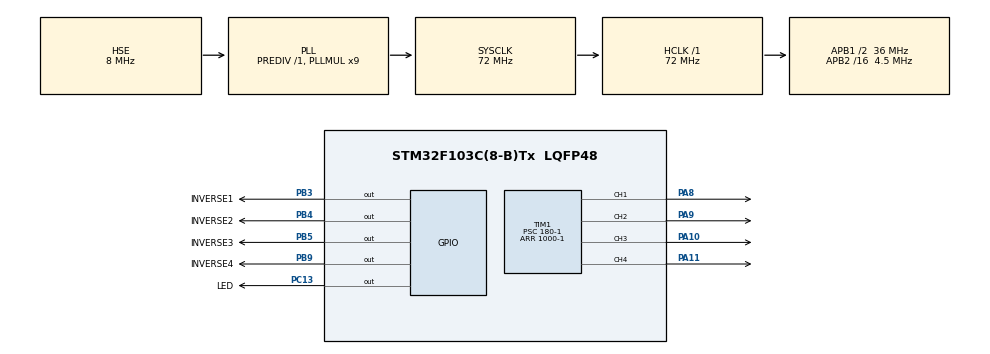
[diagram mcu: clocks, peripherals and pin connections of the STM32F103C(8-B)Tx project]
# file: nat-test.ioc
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Mcu.Family=STM32F1
Mcu.Name=STM32F103C(8-B)Tx
Mcu.Package=LQFP48
NVIC.PriorityGroup=NVIC_PRIORITYGROUP_4
PA10.Signal=S_TIM1_CH3
PA11.Signal=S_TIM1_CH4
PA8.Signal=S_TIM1_CH1
PA9.Signal=S_TIM1_CH2
PB3.GPIO_Label=INVERSE1
PB3.Signal=GPIO_Output
PB4.GPIO_Label=INVERSE2
PB4.Signal=GPIO_Output
PB5.GPIO_Label=INVERSE3
PB5.GPIO_ModeDefaultOutputPP=GPIO_MODE_OUTPUT_PP
PB5.GPIO_PuPd=GPIO_NOPULL
PB5.Signal=GPIO_Output
PB9.GPIO_Label=INVERSE4
PB9.Signal=GPIO_Output
PC13-TAMPER-RTC.GPIO_Label=LED
PC13-TAMPER-RTC.Signal=GPIO_Output
PD0-OSC_IN.Mode=HSE-External-Oscillator
PD0-OSC_IN.Signal=RCC_OSC_IN
PD1-OSC_OUT.Mode=HSE-External-Oscillator
PD1-OSC_OUT.Signal=RCC_OSC_OUT
ProjectManager.HeapSize=0x200
ProjectManager.StackSize=0x400
ProjectManager.TargetToolchain=STM32CubeIDE
RCC.AHBFreq_Value=72000000
RCC.APB1CLKDivider=RCC_HCLK_DIV2
RCC.APB1Freq_Value=36000000
RCC.APB1TimFreq_Value=72000000
RCC.APB2CLKDivider=RCC_HCLK_DIV16
RCC.APB2Freq_Value=4500000
RCC.APB2TimFreq_Value=9000000
RCC.HCLKFreq_Value=72000000
RCC.PLLMUL=RCC_PLL_MUL9
RCC.PLLSourceVirtual=RCC_PLLSOURCE_HSE
RCC.SYSCLKFreq_VALUE=72000000
RCC.SYSCLKSource=RCC_SYSCLKSOURCE_PLLCLK
RCC.USBFreq_Value=72000000
SH.S_TIM1_CH1.0=TIM1_CH1,PWM Generation1 CH1
SH.S_TIM1_CH2.0=TIM1_CH2,PWM Generation2 CH2
SH.S_TIM1_CH3.0=TIM1_CH3,PWM Generation3 CH3
SH.S_TIM1_CH4.0=TIM1_CH4,PWM Generation4 CH4
TIM1.Channel-PWM\ Generation1\ CH1=TIM_CHANNEL_1
TIM1.Channel-PWM\ Generation2\ CH2=TIM_CHANNEL_2
TIM1.Channel-PWM\ Generation3\ CH3=TIM_CHANNEL_3
TIM1.Channel-PWM\ Generation4\ CH4=TIM_CHANNEL_4
TIM1.Period=1000-1
TIM1.Prescaler=180-1
VP_SYS_VS_ND.Mode=No_Debug
board=custom

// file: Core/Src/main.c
/* USER CODE BEGIN Header */
/**
  ******************************************************************************
  * @file           : main.c
  * @brief          : Main program body
  ******************************************************************************
  * @attention
  *
  * Copyright (c) 2024 STMicroelectronics.
  * All rights reserved.
  *
  * This software is licensed under terms that can be found in the LICENSE file
  * in the root directory of this software component.
  * If no LICENSE file comes with this software, it is provided AS-IS.
  *
  ******************************************************************************
  */
/* USER CODE END Header */
#include "main.h"

/* USER CODE BEGIN PTD */
#define Calibrate
/* USER CODE END PTD */

TIM_HandleTypeDef htim1;

void SystemClock_Config(void);
static void MX_GPIO_Init(void);
static void MX_TIM1_Init(void);

int main(void)
{

  /* MCU Configuration--------------------------------------------------------*/

  /* Reset of all peripherals, Initializes the Flash interface and the Systick. */
  HAL_Init();

  /* Configure the system clock */
  SystemClock_Config();

  /* Initialize all configured peripherals */
  MX_GPIO_Init();
  MX_TIM1_Init();
  /* USER CODE BEGIN 2 */

  HAL_TIM_PWM_Start(&htim1, TIM_CHANNEL_1);
  HAL_TIM_PWM_Start(&htim1, TIM_CHANNEL_2);
  HAL_TIM_PWM_Start(&htim1, TIM_CHANNEL_3);
  HAL_TIM_PWM_Start(&htim1, TIM_CHANNEL_4);

  //HAL_Delay (5000);  // wait for 1 beep
  HAL_GPIO_TogglePin(LED_GPIO_Port, LED_Pin);
  // HAL_GPIO_WritePin(INVERSE_GPIO_Port, INVERSE_Pin, GPIO_PIN_RESET);

  #ifdef Calibrate
    TIM1->CCR1 = 100;  // Set the maximum pulse (2ms)
    TIM1->CCR2 = 100;  // Set the maximum pulse (2ms)
    TIM1->CCR3 = 100;  // Set the maximum pulse (2ms)
    TIM1->CCR4 = 100;  // Set the maximum pulse (2ms)
    HAL_Delay (4005);  // wait for 1 beep
    TIM1->CCR1 = 50;   // Set the minimum Pulse (1ms)
    TIM1->CCR2 = 50;   // Set the minimum Pulse (1ms)
    TIM1->CCR3 = 50;   // Set the minimum Pulse (1ms)
    TIM1->CCR4 = 50;   // Set the minimum Pulse (1ms)
    HAL_Delay (2005);  // wait for 2 beeps
    TIM1->CCR1 = 0;    // reset to 0, so it can be controlled via ADC
    TIM1->CCR2 = 0;    // reset to 0, so it can be controlled via ADC
    TIM1->CCR3 = 0;    // reset to 0, so it can be controlled via ADC
    TIM1->CCR4 = 0;    // reset to 0, so it can be controlled via ADC

    /*
    HAL_Delay (4000);  // wait for 1 beep
    HAL_Delay (2000);  // wait for 2 beeps
    HAL_Delay (4000);  // wait for 1 beep
    HAL_Delay (2000);  // wait for 2 beeps
    HAL_Delay (4000);  // wait for 1 beep
    HAL_Delay (2000);  // wait for 2 beeps
    */
  #endif

   /*TIM1->CCR1 = 75;
   TIM1->CCR2 = 75;
   TIM1->CCR3 = 75;
   TIM1->CCR4 = 75;
   HAL_Delay (2000);*/

  /* USER CODE END 2 */

  /* Infinite loop */
  while (1)
  {

    /* USER CODE BEGIN 3 */

	  for(int i=0; i<10; i+=2){
		  	HAL_GPIO_TogglePin(LED_GPIO_Port, LED_Pin);

		  	TIM1->CCR1 = 50+i;
			TIM1->CCR2 = 50+i;
			TIM1->CCR3 = 50+i;
			TIM1->CCR4 = 50+i;

			HAL_Delay(3000);
	  }

	  	/*HAL_GPIO_TogglePin(LED_GPIO_Port, LED_Pin);

	  	HAL_GPIO_WritePin(INVERSE1_GPIO_Port, INVERSE1_Pin, GPIO_PIN_RESET);
		HAL_GPIO_WritePin(INVERSE2_GPIO_Port, INVERSE2_Pin, GPIO_PIN_RESET);
		HAL_GPIO_WritePin(INVERSE3_GPIO_Port, INVERSE3_Pin, GPIO_PIN_RESET);
		HAL_GPIO_WritePin(INVERSE4_GPIO_Port, INVERSE4_Pin, GPIO_PIN_RESET);

		TIM1->CCR1 = 60;
		TIM1->CCR2 = 60;
		TIM1->CCR3 = 60;
		TIM1->CCR4 = 60;

		HAL_Delay(3000);

		HAL_GPIO_TogglePin(LED_GPIO_Port, LED_Pin);

		HAL_GPIO_WritePin(INVERSE1_GPIO_Port, INVERSE1_Pin, GPIO_PIN_SET);
		HAL_GPIO_WritePin(INVERSE2_GPIO_Port, INVERSE2_Pin, GPIO_PIN_SET);
		HAL_GPIO_WritePin(INVERSE3_GPIO_Port, INVERSE3_Pin, GPIO_PIN_SET);
		HAL_GPIO_WritePin(INVERSE4_GPIO_Port, INVERSE4_Pin, GPIO_PIN_SET);

		TIM1->CCR1 = 60;
		TIM1->CCR2 = 60;
		TIM1->CCR3 = 60;
		TIM1->CCR4 = 60;

		HAL_Delay(3000);*/

		/*TIM1->CCR1 = 50;
		TIM1->CCR2 = 50;
		TIM1->CCR3 = 50;
		TIM1->CCR4 = 50;

		HAL_Delay(2000);*/

		/*HAL_GPIO_TogglePin(LED_GPIO_Port, LED_Pin);

		HAL_GPIO_WritePin(INVERSE1_GPIO_Port, INVERSE1_Pin, GPIO_PIN_RESET);
		HAL_GPIO_WritePin(INVERSE2_GPIO_Port, INVERSE2_Pin, GPIO_PIN_RESET);
		HAL_GPIO_WritePin(INVERSE3_GPIO_Port, INVERSE3_Pin, GPIO_PIN_RESET);
		HAL_GPIO_WritePin(INVERSE4_GPIO_Port, INVERSE4_Pin, GPIO_PIN_RESET);

		TIM1->CCR1 = 70;
		TIM1->CCR2 = 70;
		TIM1->CCR3 = 70;
		TIM1->CCR4 = 70;

		HAL_Delay(3000);

		HAL_GPIO_TogglePin(LED_GPIO_Port, LED_Pin);

		HAL_GPIO_WritePin(INVERSE1_GPIO_Port, INVERSE1_Pin, GPIO_PIN_SET);
		HAL_GPIO_WritePin(INVERSE2_GPIO_Port, INVERSE2_Pin, GPIO_PIN_SET);
		HAL_GPIO_WritePin(INVERSE3_GPIO_Port, INVERSE3_Pin, GPIO_PIN_SET);
		HAL_GPIO_WritePin(INVERSE4_GPIO_Port, INVERSE4_Pin, GPIO_PIN_SET);

		TIM1->CCR1 = 70;
		TIM1->CCR2 = 70;
		TIM1->CCR3 = 70;
		TIM1->CCR4 = 70;

		HAL_Delay(3000);

		/*TIM1->CCR1 = 50;
		TIM1->CCR2 = 50;
		TIM1->CCR3 = 50;
		TIM1->CCR4 = 50;

		HAL_Delay(2000);*/

		/*HAL_GPIO_TogglePin(LED_GPIO_Port, LED_Pin);

		HAL_GPIO_WritePin(INVERSE1_GPIO_Port, INVERSE1_Pin, GPIO_PIN_RESET);
		HAL_GPIO_WritePin(INVERSE2_GPIO_Port, INVERSE2_Pin, GPIO_PIN_RESET);
		HAL_GPIO_WritePin(INVERSE3_GPIO_Port, INVERSE3_Pin, GPIO_PIN_RESET);
		HAL_GPIO_WritePin(INVERSE4_GPIO_Port, INVERSE4_Pin, GPIO_PIN_RESET);

		TIM1->CCR1 = 80;
		TIM1->CCR2 = 80;
		TIM1->CCR3 = 80;
		TIM1->CCR4 = 80;

		HAL_Delay(3000);

		HAL_GPIO_TogglePin(LED_GPIO_Port, LED_Pin);

		HAL_GPIO_WritePin(INVERSE1_GPIO_Port, INVERSE1_Pin, GPIO_PIN_SET);
		HAL_GPIO_WritePin(INVERSE2_GPIO_Port, INVERSE2_Pin, GPIO_PIN_SET);
		HAL_GPIO_WritePin(INVERSE3_GPIO_Port, INVERSE3_Pin, GPIO_PIN_SET);
		HAL_GPIO_WritePin(INVERSE4_GPIO_Port, INVERSE4_Pin, GPIO_PIN_SET);

		TIM1->CCR1 = 80;
		TIM1->CCR2 = 80;
		TIM1->CCR3 = 80;
		TIM1->CCR4 = 80;

		HAL_Delay(3000);

		/*TIM1->CCR1 = 50;
		TIM1->CCR2 = 50;
		TIM1->CCR3 = 50;
		TIM1->CCR4 = 50;

		HAL_Delay(2000);*/

		/*HAL_GPIO_TogglePin(LED_GPIO_Port, LED_Pin);

		HAL_GPIO_WritePin(INVERSE1_GPIO_Port, INVERSE1_Pin, GPIO_PIN_RESET);
		HAL_GPIO_WritePin(INVERSE2_GPIO_Port, INVERSE2_Pin, GPIO_PIN_RESET);
		HAL_GPIO_WritePin(INVERSE3_GPIO_Port, INVERSE3_Pin, GPIO_PIN_RESET);
		HAL_GPIO_WritePin(INVERSE4_GPIO_Port, INVERSE4_Pin, GPIO_PIN_RESET);

		TIM1->CCR1 = 90;
		TIM1->CCR2 = 90;
		TIM1->CCR3 = 90;
		TIM1->CCR4 = 90;

		HAL_Delay(3000);

		HAL_GPIO_TogglePin(LED_GPIO_Port, LED_Pin);

		HAL_GPIO_WritePin(INVERSE1_GPIO_Port, INVERSE1_Pin, GPIO_PIN_SET);
		HAL_GPIO_WritePin(INVERSE2_GPIO_Port, INVERSE2_Pin, GPIO_PIN_SET);
		HAL_GPIO_WritePin(INVERSE3_GPIO_Port, INVERSE3_Pin, GPIO_PIN_SET);
		HAL_GPIO_WritePin(INVERSE4_GPIO_Port, INVERSE4_Pin, GPIO_PIN_SET);

		TIM1->CCR1 = 90;
		TIM1->CCR2 = 90;
		TIM1->CCR3 = 90;
		TIM1->CCR4 = 90;

		HAL_Delay(3000);

		/*TIM1->CCR1 = 50;
		TIM1->CCR2 = 50;
		TIM1->CCR3 = 50;
		TIM1->CCR4 = 50;

		HAL_Delay(2000);*/

		/*HAL_GPIO_TogglePin(LED_GPIO_Port, LED_Pin);

		HAL_GPIO_WritePin(INVERSE1_GPIO_Port, INVERSE1_Pin, GPIO_PIN_RESET);
		HAL_GPIO_WritePin(INVERSE2_GPIO_Port, INVERSE2_Pin, GPIO_PIN_RESET);
		HAL_GPIO_WritePin(INVERSE3_GPIO_Port, INVERSE3_Pin, GPIO_PIN_RESET);
		HAL_GPIO_WritePin(INVERSE4_GPIO_Port, INVERSE4_Pin, GPIO_PIN_RESET);

		TIM1->CCR1 = 99;
		TIM1->CCR2 = 99;
		TIM1->CCR3 = 99;
		TIM1->CCR4 = 99;

		HAL_Delay(3000);

		HAL_GPIO_TogglePin(LED_GPIO_Port, LED_Pin);

		HAL_GPIO_WritePin(INVERSE1_GPIO_Port, INVERSE1_Pin, GPIO_PIN_SET);
		HAL_GPIO_WritePin(INVERSE2_GPIO_Port, INVERSE2_Pin, GPIO_PIN_SET);
		HAL_GPIO_WritePin(INVERSE3_GPIO_Port, INVERSE3_Pin, GPIO_PIN_SET);
		HAL_GPIO_WritePin(INVERSE4_GPIO_Port, INVERSE4_Pin, GPIO_PIN_SET);

		TIM1->CCR1 = 99;
		TIM1->CCR2 = 99;
		TIM1->CCR3 = 99;
		TIM1->CCR4 = 99;

		HAL_Delay(3000);

		/*TIM1->CCR1 = 50;
		TIM1->CCR2 = 50;
		TIM1->CCR3 = 50;
		TIM1->CCR4 = 50;

		HAL_Delay(2000);*/

		/*HAL_GPIO_TogglePin(LED_GPIO_Port, LED_Pin);

		HAL_GPIO_WritePin(INVERSE1_GPIO_Port, INVERSE1_Pin, GPIO_PIN_SET);
		HAL_GPIO_WritePin(INVERSE2_GPIO_Port, INVERSE2_Pin, GPIO_PIN_SET);
		HAL_GPIO_WritePin(INVERSE3_GPIO_Port, INVERSE3_Pin, GPIO_PIN_SET);
		HAL_GPIO_WritePin(INVERSE4_GPIO_Port, INVERSE4_Pin, GPIO_PIN_SET);

		TIM1->CCR1 = 100;
		TIM1->CCR2 = 100;
		TIM1->CCR3 = 100;
		TIM1->CCR4 = 100;

		HAL_Delay(5000);

		/*TIM1->CCR1 = 50;
		TIM1->CCR2 = 50;
		TIM1->CCR3 = 50;
		TIM1->CCR4 = 50;

		HAL_Delay(2000);*/

  }
  /* USER CODE END 3 */
}

void SystemClock_Config(void)
{
  RCC_OscInitTypeDef RCC_OscInitStruct = {0};
  RCC_ClkInitTypeDef RCC_ClkInitStruct = {0};

  /** Initializes the RCC Oscillators according to the specified parameters
  * in the RCC_OscInitTypeDef structure.
  */
  RCC_OscInitStruct.OscillatorType = RCC_OSCILLATORTYPE_HSE;
  RCC_OscInitStruct.HSEState = RCC_HSE_ON;
  RCC_OscInitStruct.HSEPredivValue = RCC_HSE_PREDIV_DIV1;
  RCC_OscInitStruct.HSIState = RCC_HSI_ON;
  RCC_OscInitStruct.PLL.PLLState = RCC_PLL_ON;
  RCC_OscInitStruct.PLL.PLLSource = RCC_PLLSOURCE_HSE;
  RCC_OscInitStruct.PLL.PLLMUL = RCC_PLL_MUL9;
  if (HAL_RCC_OscConfig(&RCC_OscInitStruct) != HAL_OK)
  {
    Error_Handler();
  }

  /** Initializes the CPU, AHB and APB buses clocks
  */
  RCC_ClkInitStruct.ClockType = RCC_CLOCKTYPE_HCLK|RCC_CLOCKTYPE_SYSCLK
                              |RCC_CLOCKTYPE_PCLK1|RCC_CLOCKTYPE_PCLK2;
  RCC_ClkInitStruct.SYSCLKSource = RCC_SYSCLKSOURCE_PLLCLK;
  RCC_ClkInitStruct.AHBCLKDivider = RCC_SYSCLK_DIV1;
  RCC_ClkInitStruct.APB1CLKDivider = RCC_HCLK_DIV2;
  RCC_ClkInitStruct.APB2CLKDivider = RCC_HCLK_DIV16;

  if (HAL_RCC_ClockConfig(&RCC_ClkInitStruct, FLASH_LATENCY_2) != HAL_OK)
  {
    Error_Handler();
  }
}

static void MX_TIM1_Init(void)
{

  TIM_MasterConfigTypeDef sMasterConfig = {0};
  TIM_OC_InitTypeDef sConfigOC = {0};
  TIM_BreakDeadTimeConfigTypeDef sBreakDeadTimeConfig = {0};

  htim1.Instance = TIM1;
  htim1.Init.Prescaler = 180-1;
  htim1.Init.CounterMode = TIM_COUNTERMODE_UP;
  htim1.Init.Period = 1000-1;
  htim1.Init.ClockDivision = TIM_CLOCKDIVISION_DIV1;
  htim1.Init.RepetitionCounter = 0;
  htim1.Init.AutoReloadPreload = TIM_AUTORELOAD_PRELOAD_DISABLE;
  if (HAL_TIM_PWM_Init(&htim1) != HAL_OK)
  {
    Error_Handler();
  }
  sMasterConfig.MasterOutputTrigger = TIM_TRGO_RESET;
  sMasterConfig.MasterSlaveMode = TIM_MASTERSLAVEMODE_DISABLE;
  if (HAL_TIMEx_MasterConfigSynchronization(&htim1, &sMasterConfig) != HAL_OK)
  {
    Error_Handler();
  }
  sConfigOC.OCMode = TIM_OCMODE_PWM1;
  sConfigOC.Pulse = 0;
  sConfigOC.OCPolarity = TIM_OCPOLARITY_HIGH;
  sConfigOC.OCNPolarity = TIM_OCNPOLARITY_HIGH;
  sConfigOC.OCFastMode = TIM_OCFAST_DISABLE;
  sConfigOC.OCIdleState = TIM_OCIDLESTATE_RESET;
  sConfigOC.OCNIdleState = TIM_OCNIDLESTATE_RESET;
  if (HAL_TIM_PWM_ConfigChannel(&htim1, &sConfigOC, TIM_CHANNEL_1) != HAL_OK)
  {
    Error_Handler();
  }
  if (HAL_TIM_PWM_ConfigChannel(&htim1, &sConfigOC, TIM_CHANNEL_2) != HAL_OK)
  {
    Error_Handler();
  }
  if (HAL_TIM_PWM_ConfigChannel(&htim1, &sConfigOC, TIM_CHANNEL_3) != HAL_OK)
  {
    Error_Handler();
  }
  if (HAL_TIM_PWM_ConfigChannel(&htim1, &sConfigOC, TIM_CHANNEL_4) != HAL_OK)
  {
    Error_Handler();
  }
  sBreakDeadTimeConfig.OffStateRunMode = TIM_OSSR_DISABLE;
  sBreakDeadTimeConfig.OffStateIDLEMode = TIM_OSSI_DISABLE;
  sBreakDeadTimeConfig.LockLevel = TIM_LOCKLEVEL_OFF;
  sBreakDeadTimeConfig.DeadTime = 0;
  sBreakDeadTimeConfig.BreakState = TIM_BREAK_DISABLE;
  sBreakDeadTimeConfig.BreakPolarity = TIM_BREAKPOLARITY_HIGH;
  sBreakDeadTimeConfig.AutomaticOutput = TIM_AUTOMATICOUTPUT_DISABLE;
  if (HAL_TIMEx_ConfigBreakDeadTime(&htim1, &sBreakDeadTimeConfig) != HAL_OK)
  {
    Error_Handler();
  }
  HAL_TIM_MspPostInit(&htim1);

}

static void MX_GPIO_Init(void)
{
  GPIO_InitTypeDef GPIO_InitStruct = {0};

  /* GPIO Ports Clock Enable */
  __HAL_RCC_GPIOC_CLK_ENABLE();
  __HAL_RCC_GPIOD_CLK_ENABLE();
  __HAL_RCC_GPIOA_CLK_ENABLE();
  __HAL_RCC_GPIOB_CLK_ENABLE();

  /*Configure GPIO pin Output Level */
  HAL_GPIO_WritePin(LED_GPIO_Port, LED_Pin, GPIO_PIN_RESET);

  /*Configure GPIO pin Output Level */
  HAL_GPIO_WritePin(GPIOB, INVERSE1_Pin|INVERSE2_Pin|INVERSE3_Pin|INVERSE4_Pin, GPIO_PIN_RESET);

  /*Configure GPIO pin : LED_Pin */
  GPIO_InitStruct.Pin = LED_Pin;
  GPIO_InitStruct.Mode = GPIO_MODE_OUTPUT_PP;
  GPIO_InitStruct.Pull = GPIO_NOPULL;
  GPIO_InitStruct.Speed = GPIO_SPEED_FREQ_LOW;
  HAL_GPIO_Init(LED_GPIO_Port, &GPIO_InitStruct);

  /*Configure GPIO pins : INVERSE1_Pin INVERSE2_Pin INVERSE3_Pin INVERSE4_Pin */
  GPIO_InitStruct.Pin = INVERSE1_Pin|INVERSE2_Pin|INVERSE3_Pin|INVERSE4_Pin;
  GPIO_InitStruct.Mode = GPIO_MODE_OUTPUT_PP;
  GPIO_InitStruct.Pull = GPIO_NOPULL;
  GPIO_InitStruct.Speed = GPIO_SPEED_FREQ_LOW;
  HAL_GPIO_Init(GPIOB, &GPIO_InitStruct);

}

void Error_Handler(void)
{
  __disable_irq();
  while (1)
  {
  }
}
